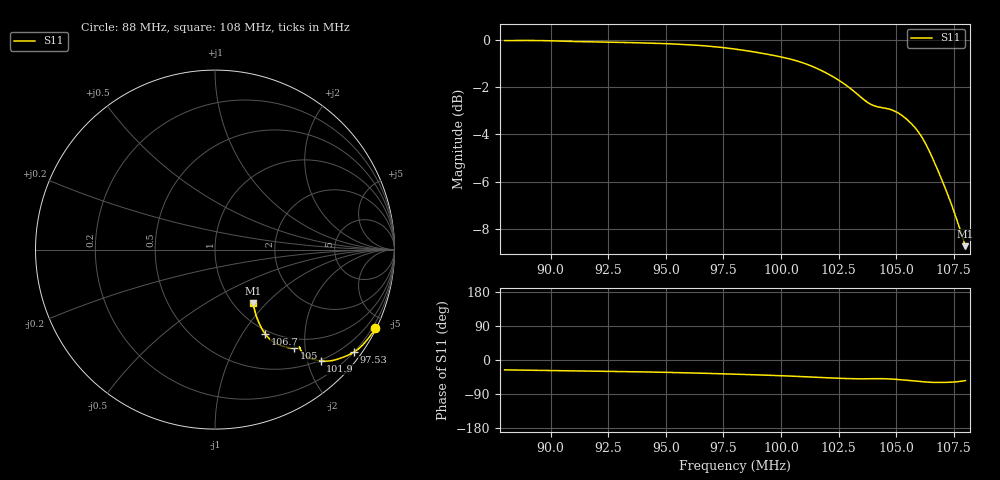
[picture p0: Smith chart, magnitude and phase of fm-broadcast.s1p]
! Calibrated averaged scanner-service zoom
# Hz S RI R 50
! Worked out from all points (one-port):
!   2001 points, 88 MHz to 108 MHz, reference 50 ohm
!   lowest |S11| = -8.7 dB at 108 MHz (marker M1), VSWR 2.16, Z = 61.2 - j42.1 ohm
!   |S11| at or under -10 dB: nowhere
!   S11 on the Smith chart (normalised r, x): 88 MHz: 0.05, -4.33; 97.53 MHz: 0.20, -3.02; 101.9 MHz: 0.49, -2.24; 105 MHz: 0.83, -1.79; 106.7 MHz: 0.95, -1.27; 108 MHz: 1.22, -0.84
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8.8e7  0.8942 -0.4368
8.92e7  0.8872 -0.4515
9.05e7  0.8753 -0.4674
9.3e7  0.8519 -0.4978
9.55e7  0.8178 -0.5366
9.663e7  0.7952 -0.5567
9.753e7  0.7721 -0.5725
9.8e7  0.7583 -0.5799
9.947e7  0.7093 -0.6013
1.005e8  0.6663 -0.6151
1.0119e8  0.6295 -0.621
1.0187e8  0.5884 -0.6197
1.0247e8  0.5497 -0.6118
1.03e8  0.5152 -0.5976
1.0357e8  0.4835 -0.5704
1.0408e8  0.4728 -0.5482
1.0432e8  0.4699 -0.5442
1.0457e8  0.4638 -0.5447
1.0498e8  0.4425 -0.5474
1.055e8  0.4006 -0.5442
1.0588e8  0.3631 -0.5331
1.0614e8  0.3352 -0.5209
1.0639e8  0.307 -0.5
1.0668e8  0.2805 -0.4693
1.0697e8  0.2587 -0.4354
1.0737e8  0.2362 -0.3854
1.0792e8  0.2147 -0.3107
1.08e8  0.2131 -0.2978
